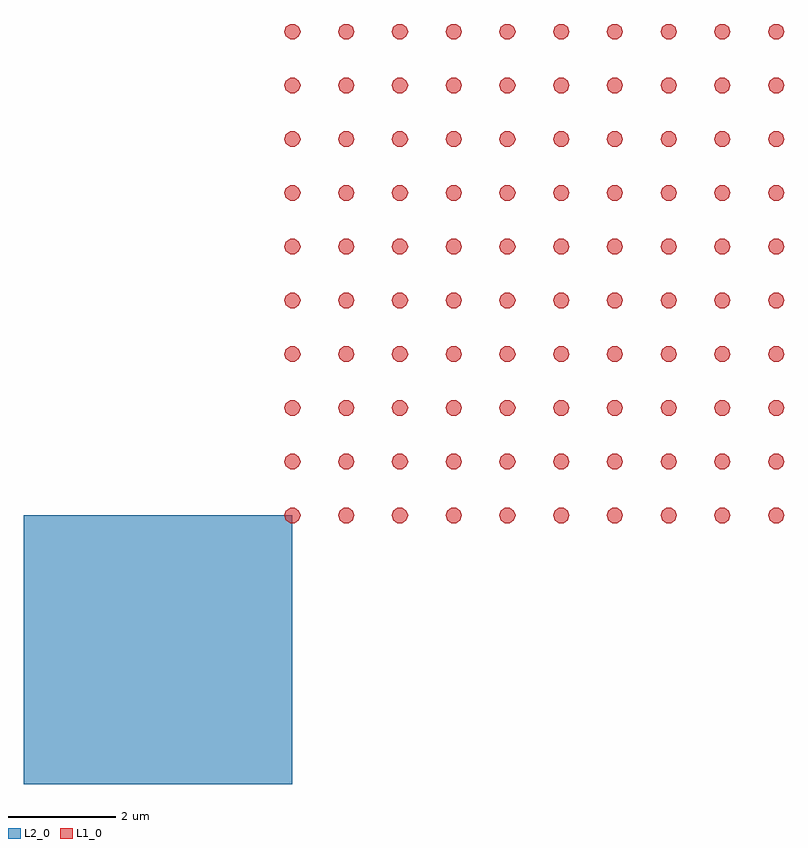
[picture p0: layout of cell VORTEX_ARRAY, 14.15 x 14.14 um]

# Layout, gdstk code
import gdstk
lib = gdstk.Library(unit=1e-6, precision=1e-09)
def R(c, l, rs):  # rectangles x0, y0, x1, y1
    for r in rs: c.add(gdstk.rectangle(r[:2], r[2:], *l))
def P(c, l, *ps):  # polygons
    for p in ps: c.add(gdstk.Polygon(p, *l))
L1_0 = (1, 0)
L2_0 = (2, 0)

vortex_array = lib.new_cell('VORTEX_ARRAY')
P(vortex_array, L1_0, [(0.15,0),(0.121,0.088),(0.046,0.143),(-0.046,0.143),(-0.121,0.088),(-0.15,0),(-0.121,-0.088),(-0.046,-0.143),(0.046,-0.143),(0.121,-0.088)],
  [(0.15,1),(0.121,1.088),(0.046,1.143),(-0.046,1.143),(-0.121,1.088),(-0.15,1),(-0.121,0.912),(-0.046,0.857),(0.046,0.857),(0.121,0.912)],
  [(0.15,2),(0.121,2.088),(0.046,2.143),(-0.046,2.143),(-0.121,2.088),(-0.15,2),(-0.121,1.912),(-0.046,1.857),(0.046,1.857),(0.121,1.912)],
  [(0.15,3),(0.121,3.088),(0.046,3.143),(-0.046,3.143),(-0.121,3.088),(-0.15,3),(-0.121,2.912),(-0.046,2.857),(0.046,2.857),(0.121,2.912)],
  [(0.15,4),(0.121,4.088),(0.046,4.143),(-0.046,4.143),(-0.121,4.088),(-0.15,4),(-0.121,3.912),(-0.046,3.857),(0.046,3.857),(0.121,3.912)],
  [(0.15,5),(0.121,5.088),(0.046,5.143),(-0.046,5.143),(-0.121,5.088),(-0.15,5),(-0.121,4.912),(-0.046,4.857),(0.046,4.857),(0.121,4.912)],
  [(0.15,6),(0.121,6.088),(0.046,6.143),(-0.046,6.143),(-0.121,6.088),(-0.15,6),(-0.121,5.912),(-0.046,5.857),(0.046,5.857),(0.121,5.912)],
  [(0.15,7),(0.121,7.088),(0.046,7.143),(-0.046,7.143),(-0.121,7.088),(-0.15,7),(-0.121,6.912),(-0.046,6.857),(0.046,6.857),(0.121,6.912)],
  [(0.15,8),(0.121,8.088),(0.046,8.143),(-0.046,8.143),(-0.121,8.088),(-0.15,8),(-0.121,7.912),(-0.046,7.857),(0.046,7.857),(0.121,7.912)],
  [(0.15,9),(0.121,9.088),(0.046,9.143),(-0.046,9.143),(-0.121,9.088),(-0.15,9),(-0.121,8.912),(-0.046,8.857),(0.046,8.857),(0.121,8.912)],
  [(1.15,0),(1.121,0.088),(1.046,0.143),(0.954,0.143),(0.879,0.088),(0.85,0),(0.879,-0.088),(0.954,-0.143),(1.046,-0.143),(1.121,-0.088)],
  [(1.15,1),(1.121,1.088),(1.046,1.143),(0.954,1.143),(0.879,1.088),(0.85,1),(0.879,0.912),(0.954,0.857),(1.046,0.857),(1.121,0.912)],
  [(1.15,2),(1.121,2.088),(1.046,2.143),(0.954,2.143),(0.879,2.088),(0.85,2),(0.879,1.912),(0.954,1.857),(1.046,1.857),(1.121,1.912)],
  [(1.15,3),(1.121,3.088),(1.046,3.143),(0.954,3.143),(0.879,3.088),(0.85,3),(0.879,2.912),(0.954,2.857),(1.046,2.857),(1.121,2.912)],
  [(1.15,4),(1.121,4.088),(1.046,4.143),(0.954,4.143),(0.879,4.088),(0.85,4),(0.879,3.912),(0.954,3.857),(1.046,3.857),(1.121,3.912)],
  [(1.15,5),(1.121,5.088),(1.046,5.143),(0.954,5.143),(0.879,5.088),(0.85,5),(0.879,4.912),(0.954,4.857),(1.046,4.857),(1.121,4.912)],
  [(1.15,6),(1.121,6.088),(1.046,6.143),(0.954,6.143),(0.879,6.088),(0.85,6),(0.879,5.912),(0.954,5.857),(1.046,5.857),(1.121,5.912)],
  [(1.15,7),(1.121,7.088),(1.046,7.143),(0.954,7.143),(0.879,7.088),(0.85,7),(0.879,6.912),(0.954,6.857),(1.046,6.857),(1.121,6.912)],
  [(1.15,8),(1.121,8.088),(1.046,8.143),(0.954,8.143),(0.879,8.088),(0.85,8),(0.879,7.912),(0.954,7.857),(1.046,7.857),(1.121,7.912)],
  [(1.15,9),(1.121,9.088),(1.046,9.143),(0.954,9.143),(0.879,9.088),(0.85,9),(0.879,8.912),(0.954,8.857),(1.046,8.857),(1.121,8.912)],
  [(2.15,0),(2.121,0.088),(2.046,0.143),(1.954,0.143),(1.879,0.088),(1.85,0),(1.879,-0.088),(1.954,-0.143),(2.046,-0.143),(2.121,-0.088)],
  [(2.15,1),(2.121,1.088),(2.046,1.143),(1.954,1.143),(1.879,1.088),(1.85,1),(1.879,0.912),(1.954,0.857),(2.046,0.857),(2.121,0.912)],
  [(2.15,2),(2.121,2.088),(2.046,2.143),(1.954,2.143),(1.879,2.088),(1.85,2),(1.879,1.912),(1.954,1.857),(2.046,1.857),(2.121,1.912)],
  [(2.15,3),(2.121,3.088),(2.046,3.143),(1.954,3.143),(1.879,3.088),(1.85,3),(1.879,2.912),(1.954,2.857),(2.046,2.857),(2.121,2.912)],
  [(2.15,4),(2.121,4.088),(2.046,4.143),(1.954,4.143),(1.879,4.088),(1.85,4),(1.879,3.912),(1.954,3.857),(2.046,3.857),(2.121,3.912)],
  [(2.15,5),(2.121,5.088),(2.046,5.143),(1.954,5.143),(1.879,5.088),(1.85,5),(1.879,4.912),(1.954,4.857),(2.046,4.857),(2.121,4.912)],
  [(2.15,6),(2.121,6.088),(2.046,6.143),(1.954,6.143),(1.879,6.088),(1.85,6),(1.879,5.912),(1.954,5.857),(2.046,5.857),(2.121,5.912)],
  [(2.15,7),(2.121,7.088),(2.046,7.143),(1.954,7.143),(1.879,7.088),(1.85,7),(1.879,6.912),(1.954,6.857),(2.046,6.857),(2.121,6.912)],
  [(2.15,8),(2.121,8.088),(2.046,8.143),(1.954,8.143),(1.879,8.088),(1.85,8),(1.879,7.912),(1.954,7.857),(2.046,7.857),(2.121,7.912)],
  [(2.15,9),(2.121,9.088),(2.046,9.143),(1.954,9.143),(1.879,9.088),(1.85,9),(1.879,8.912),(1.954,8.857),(2.046,8.857),(2.121,8.912)],
  [(3.15,0),(3.121,0.088),(3.046,0.143),(2.954,0.143),(2.879,0.088),(2.85,0),(2.879,-0.088),(2.954,-0.143),(3.046,-0.143),(3.121,-0.088)],
  [(3.15,1),(3.121,1.088),(3.046,1.143),(2.954,1.143),(2.879,1.088),(2.85,1),(2.879,0.912),(2.954,0.857),(3.046,0.857),(3.121,0.912)],
  [(3.15,2),(3.121,2.088),(3.046,2.143),(2.954,2.143),(2.879,2.088),(2.85,2),(2.879,1.912),(2.954,1.857),(3.046,1.857),(3.121,1.912)],
  [(3.15,3),(3.121,3.088),(3.046,3.143),(2.954,3.143),(2.879,3.088),(2.85,3),(2.879,2.912),(2.954,2.857),(3.046,2.857),(3.121,2.912)],
  [(3.15,4),(3.121,4.088),(3.046,4.143),(2.954,4.143),(2.879,4.088),(2.85,4),(2.879,3.912),(2.954,3.857),(3.046,3.857),(3.121,3.912)],
  [(3.15,5),(3.121,5.088),(3.046,5.143),(2.954,5.143),(2.879,5.088),(2.85,5),(2.879,4.912),(2.954,4.857),(3.046,4.857),(3.121,4.912)],
  [(3.15,6),(3.121,6.088),(3.046,6.143),(2.954,6.143),(2.879,6.088),(2.85,6),(2.879,5.912),(2.954,5.857),(3.046,5.857),(3.121,5.912)],
  [(3.15,7),(3.121,7.088),(3.046,7.143),(2.954,7.143),(2.879,7.088),(2.85,7),(2.879,6.912),(2.954,6.857),(3.046,6.857),(3.121,6.912)],
  [(3.15,8),(3.121,8.088),(3.046,8.143),(2.954,8.143),(2.879,8.088),(2.85,8),(2.879,7.912),(2.954,7.857),(3.046,7.857),(3.121,7.912)],
  [(3.15,9),(3.121,9.088),(3.046,9.143),(2.954,9.143),(2.879,9.088),(2.85,9),(2.879,8.912),(2.954,8.857),(3.046,8.857),(3.121,8.912)],
  [(4.15,0),(4.121,0.088),(4.046,0.143),(3.954,0.143),(3.879,0.088),(3.85,0),(3.879,-0.088),(3.954,-0.143),(4.046,-0.143),(4.121,-0.088)],
  [(4.15,1),(4.121,1.088),(4.046,1.143),(3.954,1.143),(3.879,1.088),(3.85,1),(3.879,0.912),(3.954,0.857),(4.046,0.857),(4.121,0.912)],
  [(4.15,2),(4.121,2.088),(4.046,2.143),(3.954,2.143),(3.879,2.088),(3.85,2),(3.879,1.912),(3.954,1.857),(4.046,1.857),(4.121,1.912)],
  [(4.15,3),(4.121,3.088),(4.046,3.143),(3.954,3.143),(3.879,3.088),(3.85,3),(3.879,2.912),(3.954,2.857),(4.046,2.857),(4.121,2.912)],
  [(4.15,4),(4.121,4.088),(4.046,4.143),(3.954,4.143),(3.879,4.088),(3.85,4),(3.879,3.912),(3.954,3.857),(4.046,3.857),(4.121,3.912)],
  [(4.15,5),(4.121,5.088),(4.046,5.143),(3.954,5.143),(3.879,5.088),(3.85,5),(3.879,4.912),(3.954,4.857),(4.046,4.857),(4.121,4.912)],
  [(4.15,6),(4.121,6.088),(4.046,6.143),(3.954,6.143),(3.879,6.088),(3.85,6),(3.879,5.912),(3.954,5.857),(4.046,5.857),(4.121,5.912)],
  [(4.15,7),(4.121,7.088),(4.046,7.143),(3.954,7.143),(3.879,7.088),(3.85,7),(3.879,6.912),(3.954,6.857),(4.046,6.857),(4.121,6.912)],
  [(4.15,8),(4.121,8.088),(4.046,8.143),(3.954,8.143),(3.879,8.088),(3.85,8),(3.879,7.912),(3.954,7.857),(4.046,7.857),(4.121,7.912)],
  [(4.15,9),(4.121,9.088),(4.046,9.143),(3.954,9.143),(3.879,9.088),(3.85,9),(3.879,8.912),(3.954,8.857),(4.046,8.857),(4.121,8.912)],
  [(5.15,0),(5.121,0.088),(5.046,0.143),(4.954,0.143),(4.879,0.088),(4.85,0),(4.879,-0.088),(4.954,-0.143),(5.046,-0.143),(5.121,-0.088)],
  [(5.15,1),(5.121,1.088),(5.046,1.143),(4.954,1.143),(4.879,1.088),(4.85,1),(4.879,0.912),(4.954,0.857),(5.046,0.857),(5.121,0.912)],
  [(5.15,2),(5.121,2.088),(5.046,2.143),(4.954,2.143),(4.879,2.088),(4.85,2),(4.879,1.912),(4.954,1.857),(5.046,1.857),(5.121,1.912)],
  [(5.15,3),(5.121,3.088),(5.046,3.143),(4.954,3.143),(4.879,3.088),(4.85,3),(4.879,2.912),(4.954,2.857),(5.046,2.857),(5.121,2.912)],
  [(5.15,4),(5.121,4.088),(5.046,4.143),(4.954,4.143),(4.879,4.088),(4.85,4),(4.879,3.912),(4.954,3.857),(5.046,3.857),(5.121,3.912)],
  [(5.15,5),(5.121,5.088),(5.046,5.143),(4.954,5.143),(4.879,5.088),(4.85,5),(4.879,4.912),(4.954,4.857),(5.046,4.857),(5.121,4.912)],
  [(5.15,6),(5.121,6.088),(5.046,6.143),(4.954,6.143),(4.879,6.088),(4.85,6),(4.879,5.912),(4.954,5.857),(5.046,5.857),(5.121,5.912)],
  [(5.15,7),(5.121,7.088),(5.046,7.143),(4.954,7.143),(4.879,7.088),(4.85,7),(4.879,6.912),(4.954,6.857),(5.046,6.857),(5.121,6.912)],
  [(5.15,8),(5.121,8.088),(5.046,8.143),(4.954,8.143),(4.879,8.088),(4.85,8),(4.879,7.912),(4.954,7.857),(5.046,7.857),(5.121,7.912)],
  [(5.15,9),(5.121,9.088),(5.046,9.143),(4.954,9.143),(4.879,9.088),(4.85,9),(4.879,8.912),(4.954,8.857),(5.046,8.857),(5.121,8.912)],
  [(6.15,0),(6.121,0.088),(6.046,0.143),(5.954,0.143),(5.879,0.088),(5.85,0),(5.879,-0.088),(5.954,-0.143),(6.046,-0.143),(6.121,-0.088)],
  [(6.15,1),(6.121,1.088),(6.046,1.143),(5.954,1.143),(5.879,1.088),(5.85,1),(5.879,0.912),(5.954,0.857),(6.046,0.857),(6.121,0.912)],
  [(6.15,2),(6.121,2.088),(6.046,2.143),(5.954,2.143),(5.879,2.088),(5.85,2),(5.879,1.912),(5.954,1.857),(6.046,1.857),(6.121,1.912)],
  [(6.15,3),(6.121,3.088),(6.046,3.143),(5.954,3.143),(5.879,3.088),(5.85,3),(5.879,2.912),(5.954,2.857),(6.046,2.857),(6.121,2.912)],
  [(6.15,4),(6.121,4.088),(6.046,4.143),(5.954,4.143),(5.879,4.088),(5.85,4),(5.879,3.912),(5.954,3.857),(6.046,3.857),(6.121,3.912)],
  [(6.15,5),(6.121,5.088),(6.046,5.143),(5.954,5.143),(5.879,5.088),(5.85,5),(5.879,4.912),(5.954,4.857),(6.046,4.857),(6.121,4.912)],
  [(6.15,6),(6.121,6.088),(6.046,6.143),(5.954,6.143),(5.879,6.088),(5.85,6),(5.879,5.912),(5.954,5.857),(6.046,5.857),(6.121,5.912)],
  [(6.15,7),(6.121,7.088),(6.046,7.143),(5.954,7.143),(5.879,7.088),(5.85,7),(5.879,6.912),(5.954,6.857),(6.046,6.857),(6.121,6.912)],
  [(6.15,8),(6.121,8.088),(6.046,8.143),(5.954,8.143),(5.879,8.088),(5.85,8),(5.879,7.912),(5.954,7.857),(6.046,7.857),(6.121,7.912)],
  [(6.15,9),(6.121,9.088),(6.046,9.143),(5.954,9.143),(5.879,9.088),(5.85,9),(5.879,8.912),(5.954,8.857),(6.046,8.857),(6.121,8.912)],
  [(7.15,0),(7.121,0.088),(7.046,0.143),(6.954,0.143),(6.879,0.088),(6.85,0),(6.879,-0.088),(6.954,-0.143),(7.046,-0.143),(7.121,-0.088)],
  [(7.15,1),(7.121,1.088),(7.046,1.143),(6.954,1.143),(6.879,1.088),(6.85,1),(6.879,0.912),(6.954,0.857),(7.046,0.857),(7.121,0.912)],
  [(7.15,2),(7.121,2.088),(7.046,2.143),(6.954,2.143),(6.879,2.088),(6.85,2),(6.879,1.912),(6.954,1.857),(7.046,1.857),(7.121,1.912)],
  [(7.15,3),(7.121,3.088),(7.046,3.143),(6.954,3.143),(6.879,3.088),(6.85,3),(6.879,2.912),(6.954,2.857),(7.046,2.857),(7.121,2.912)],
  [(7.15,4),(7.121,4.088),(7.046,4.143),(6.954,4.143),(6.879,4.088),(6.85,4),(6.879,3.912),(6.954,3.857),(7.046,3.857),(7.121,3.912)],
  [(7.15,5),(7.121,5.088),(7.046,5.143),(6.954,5.143),(6.879,5.088),(6.85,5),(6.879,4.912),(6.954,4.857),(7.046,4.857),(7.121,4.912)],
  [(7.15,6),(7.121,6.088),(7.046,6.143),(6.954,6.143),(6.879,6.088),(6.85,6),(6.879,5.912),(6.954,5.857),(7.046,5.857),(7.121,5.912)],
  [(7.15,7),(7.121,7.088),(7.046,7.143),(6.954,7.143),(6.879,7.088),(6.85,7),(6.879,6.912),(6.954,6.857),(7.046,6.857),(7.121,6.912)],
  [(7.15,8),(7.121,8.088),(7.046,8.143),(6.954,8.143),(6.879,8.088),(6.85,8),(6.879,7.912),(6.954,7.857),(7.046,7.857),(7.121,7.912)],
  [(7.15,9),(7.121,9.088),(7.046,9.143),(6.954,9.143),(6.879,9.088),(6.85,9),(6.879,8.912),(6.954,8.857),(7.046,8.857),(7.121,8.912)],
  [(8.15,0),(8.121,0.088),(8.046,0.143),(7.954,0.143),(7.879,0.088),(7.85,0),(7.879,-0.088),(7.954,-0.143),(8.046,-0.143),(8.121,-0.088)],
  [(8.15,1),(8.121,1.088),(8.046,1.143),(7.954,1.143),(7.879,1.088),(7.85,1),(7.879,0.912),(7.954,0.857),(8.046,0.857),(8.121,0.912)],
  [(8.15,2),(8.121,2.088),(8.046,2.143),(7.954,2.143),(7.879,2.088),(7.85,2),(7.879,1.912),(7.954,1.857),(8.046,1.857),(8.121,1.912)],
  [(8.15,3),(8.121,3.088),(8.046,3.143),(7.954,3.143),(7.879,3.088),(7.85,3),(7.879,2.912),(7.954,2.857),(8.046,2.857),(8.121,2.912)],
  [(8.15,4),(8.121,4.088),(8.046,4.143),(7.954,4.143),(7.879,4.088),(7.85,4),(7.879,3.912),(7.954,3.857),(8.046,3.857),(8.121,3.912)],
  [(8.15,5),(8.121,5.088),(8.046,5.143),(7.954,5.143),(7.879,5.088),(7.85,5),(7.879,4.912),(7.954,4.857),(8.046,4.857),(8.121,4.912)],
  [(8.15,6),(8.121,6.088),(8.046,6.143),(7.954,6.143),(7.879,6.088),(7.85,6),(7.879,5.912),(7.954,5.857),(8.046,5.857),(8.121,5.912)],
  [(8.15,7),(8.121,7.088),(8.046,7.143),(7.954,7.143),(7.879,7.088),(7.85,7),(7.879,6.912),(7.954,6.857),(8.046,6.857),(8.121,6.912)],
  [(8.15,8),(8.121,8.088),(8.046,8.143),(7.954,8.143),(7.879,8.088),(7.85,8),(7.879,7.912),(7.954,7.857),(8.046,7.857),(8.121,7.912)],
  [(8.15,9),(8.121,9.088),(8.046,9.143),(7.954,9.143),(7.879,9.088),(7.85,9),(7.879,8.912),(7.954,8.857),(8.046,8.857),(8.121,8.912)],
  [(9.15,0),(9.121,0.088),(9.046,0.143),(8.954,0.143),(8.879,0.088),(8.85,0),(8.879,-0.088),(8.954,-0.143),(9.046,-0.143),(9.121,-0.088)],
  [(9.15,1),(9.121,1.088),(9.046,1.143),(8.954,1.143),(8.879,1.088),(8.85,1),(8.879,0.912),(8.954,0.857),(9.046,0.857),(9.121,0.912)],
  [(9.15,2),(9.121,2.088),(9.046,2.143),(8.954,2.143),(8.879,2.088),(8.85,2),(8.879,1.912),(8.954,1.857),(9.046,1.857),(9.121,1.912)],
  [(9.15,3),(9.121,3.088),(9.046,3.143),(8.954,3.143),(8.879,3.088),(8.85,3),(8.879,2.912),(8.954,2.857),(9.046,2.857),(9.121,2.912)],
  [(9.15,4),(9.121,4.088),(9.046,4.143),(8.954,4.143),(8.879,4.088),(8.85,4),(8.879,3.912),(8.954,3.857),(9.046,3.857),(9.121,3.912)],
  [(9.15,5),(9.121,5.088),(9.046,5.143),(8.954,5.143),(8.879,5.088),(8.85,5),(8.879,4.912),(8.954,4.857),(9.046,4.857),(9.121,4.912)],
  [(9.15,6),(9.121,6.088),(9.046,6.143),(8.954,6.143),(8.879,6.088),(8.85,6),(8.879,5.912),(8.954,5.857),(9.046,5.857),(9.121,5.912)],
  [(9.15,7),(9.121,7.088),(9.046,7.143),(8.954,7.143),(8.879,7.088),(8.85,7),(8.879,6.912),(8.954,6.857),(9.046,6.857),(9.121,6.912)],
  [(9.15,8),(9.121,8.088),(9.046,8.143),(8.954,8.143),(8.879,8.088),(8.85,8),(8.879,7.912),(8.954,7.857),(9.046,7.857),(9.121,7.912)],
  [(9.15,9),(9.121,9.088),(9.046,9.143),(8.954,9.143),(8.879,9.088),(8.85,9),(8.879,8.912),(8.954,8.857),(9.046,8.857),(9.121,8.912)])
R(vortex_array, L2_0, [(-5,-5,0,0)])

lib.write_gds('VORTEX_ARRAY.gds')
